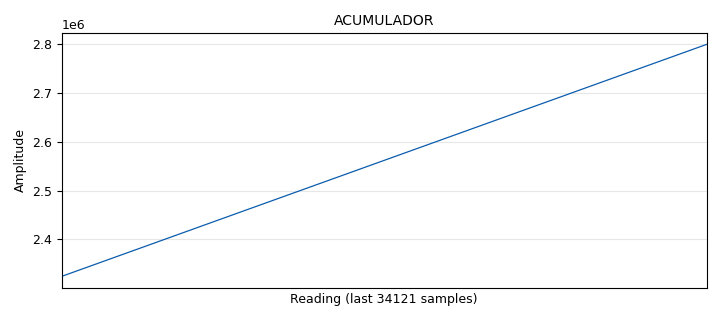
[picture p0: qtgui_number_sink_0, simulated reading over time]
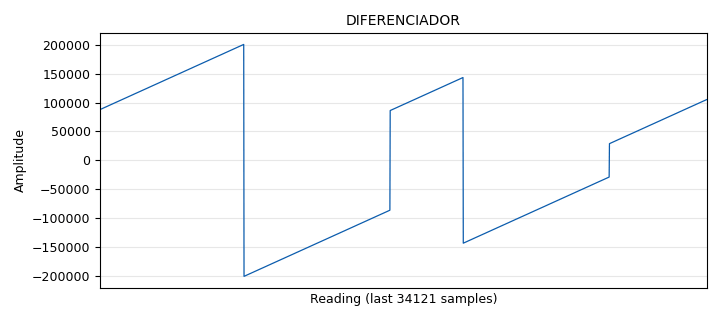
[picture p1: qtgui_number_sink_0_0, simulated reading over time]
options:
  parameters:
    generate_options: qt_gui
    id: Acumulador
    output_language: python
    title: Not titled yet
  states: {}

blocks:
- name: samp_rate
  id: variable
  parameters:
    value: '32000'
  states: {}
- name: blocks_vector_source_x_0
  id: blocks_vector_source_x
  parameters:
    repeat: 'True'
    type: float
    vector: (2, 10, 30)
  states: {}
- name: epy_block_0
  id: epy_block
  parameters:
    _source_code: |
      """
      Embedded Python Blocks:

      Each time this file is saved, GRC will instantiate the first class it finds
      to get ports and parameters of your block. The arguments to __init__  will
      be the parameters. All of them are required to have default values!
      """

      import numpy as np
      from gnuradio import gr

      class blk(gr.sync_block):
          """Embedded Python Block example - a simple accumulate block"""

          def __init__(self):
              """Constructor for the accumulate block."""
              gr.sync_block.__init__(
                  self,
                  name='e_Acum',   # Name of the block in GRC
                  in_sig=[np.float32],  # Input signature: single stream of float32
                  out_sig=[np.float32]  # Output signature: single stream of float32
              )
              # Initialize an internal state variable to keep track of the cumulative sum
              self.accumulator = np.float32(0.0)

          def work(self, input_items, output_items):
              """Accumulate the input items and produce the output."""
              x = input_items[0]  # Input items
              y0 = output_items[0]  # Output items

              # Calculate the cumulative sum for the current input items
              y0[:] = np.cumsum(x) + self.accumulator

              # Update the internal accumulator with the last value of the cumulative sum
              self.accumulator = y0[-1]

              return len(y0)  # Return the number of output items processed
  states: {}
- name: epy_block_1
  id: epy_block
  parameters:
    _source_code: |
      """
      Embedded Python Blocks:

      Each time this file is saved, GRC will instantiate the first class it finds
      to get ports and parameters of your block. The arguments to __init__  will
      be the parameters. All of them are required to have default values!
      """

      import numpy as np
      from gnuradio import gr


      class blk(gr.sync_block):  # other base classes are basic_block, decim_block, interp_block
          """Embedded Python Block example - a simple multiply const"""

          def __init__(self):  # only default arguments here
              """arguments to this function show up as parameters in GRC"""
              gr.sync_block.__init__(
                  self,
                  name='e_Diff',   # will show up in GRC
                  in_sig=[np.float32],
                  out_sig=[np.float32]

          
              )
              self.acum_anterior = 0
              # if an attribute with the same name as a parameter is found,
              # a callback is registered (properties work, too).

          def work(self, input_items, output_items):
              """example: multiply with constant"""
              x= input_items[0]
              y0= output_items[0]

              N= len(x)
              diff= np.cumsum(x) - self.acum_anterior
              self.acum_anterior = diff[N-1]
              y0[:] = diff
              return len(y0)
  states: {}
- name: qtgui_number_sink_0
  id: qtgui_number_sink
  parameters:
    graph_type: qtgui.NUM_GRAPH_HORIZ
    name: '"ACUMULADOR"'
    type: float
  states: {}
- name: qtgui_number_sink_0_0
  id: qtgui_number_sink
  parameters:
    graph_type: qtgui.NUM_GRAPH_HORIZ
    name: '"DIFERENCIADOR"'
    type: float
  states: {}

connections:
- [blocks_vector_source_x_0, '0', epy_block_0, '0']
- [blocks_vector_source_x_0, '0', epy_block_1, '0']
- [epy_block_0, '0', qtgui_number_sink_0, '0']
- [epy_block_1, '0', qtgui_number_sink_0_0, '0']

metadata:
  file_format: 1
  grc_version: v3.10.11.0-89-ga17f69e7
